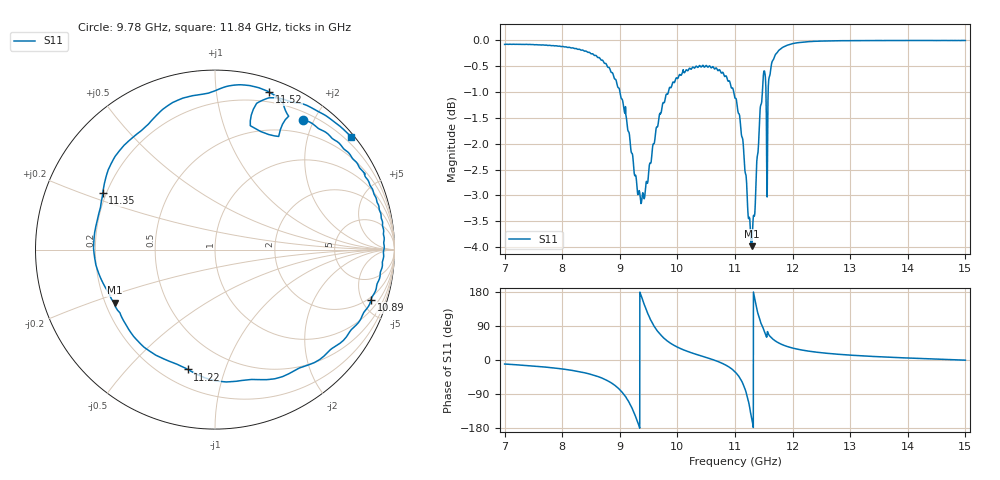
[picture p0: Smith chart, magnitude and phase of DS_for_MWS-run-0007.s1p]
! TOUCHSTONE file generated by CST DESIGN STUDIO
! Date and time: Mon Feb 10 16:50:53 2025
! Project name: C:\Work\MatlabApps\UnitCellType2OptimizationMatlab\CST\unitcell.cst
! Tree item: Tasks\Sweep1\SPara1\S-Parameters
! Header version: 2024
! Port assignment regex: !\s*Touchstone port\s*([0-9]+)\s*=\s*(CST MWS port|CST DES external port|CST DES block port)\s*(.+)\s* \(\"(.*)\"\)(\s*mode\s*([0-9]+))?.*
! Touchstone port assignment:
! Touchstone port 1 = CST DES external port 1 ("")
# GHz S MA R 50
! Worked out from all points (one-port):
!   4001 points, 7 GHz to 15 GHz, reference 50 ohm
!   lowest |S11| = -4.0 dB at 11.29 GHz (marker M1), VSWR 4.44, Z = 11.9 - j11.7 ohm
!   |S11| at or under -10 dB: nowhere
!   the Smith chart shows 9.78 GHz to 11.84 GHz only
!   S11 on the Smith chart (normalised r, x): 9.78 GHz: 0.30, +1.85; 10.89 GHz: 1.74, -5.86; 11.22 GHz: 0.30, -0.75; 11.35 GHz: 0.19, +0.23; 11.52 GHz: 0.11, +1.40; 11.84 GHz: 0.06, +2.78
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7  0.9913 -10.6
8  0.9868 -23.6
8.65  0.9617 -45.4
8.84  0.9338 -59.4
9  0.8935 -78.7
9.186  0.7894 -119.5
9.276  0.74 -150.1
9.358  0.701 174.6
9.448  0.7227 137.4
9.544  0.7628 103.5
9.78  0.8734 55.9
10  0.9186 34.0
10.47  0.9424 8.1
10.89  0.9133 -17.9
11  0.8792 -31.1
11.114  0.8088 -55.1
11.222  0.6848 -102.8
11.288  0.6322 -152.2
11.354  0.6998 153.3
11.436  0.8576 104.1
11.482  0.9068 86.7
11.522  0.9274 70.9
11.688  0.9654 51.6
11.836  0.9853 39.5
12  0.993 31.5
13  0.9996 12.9
14  0.9999 5.2
15  0.9999 -0.4
